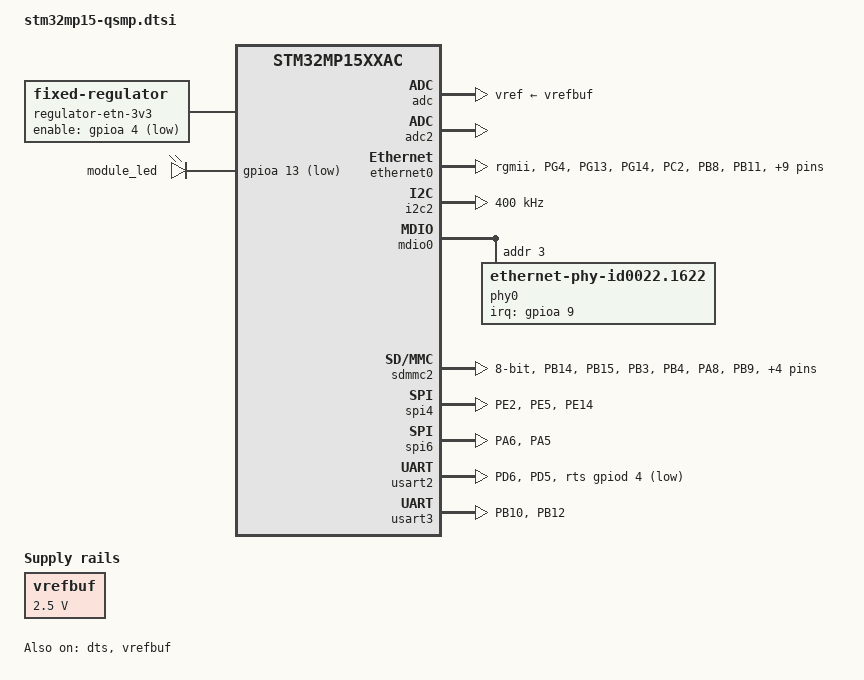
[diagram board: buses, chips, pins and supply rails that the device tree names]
// SPDX-License-Identifier: (GPL-2.0 OR BSD-3-Clause)
/*
 * Copyright (C) 2020 Lothar Waßmann <LW@KARO-electronics.de>
 */

#include <dt-bindings/pinctrl/stm32-pinfunc.h>
#include "stm32mp15xxac-pinctrl.dtsi"
#include "stm32mp15-karo.dtsi"

/ {
	aliases {
		i2c1 = &i2c2;
		i2c2 = &i2c1;
		mmc1 = &sdmmc1;
		serial1 = &usart3;
		serial2 = &usart2;
	};

	regulator-etn-3v3 {
		compatible = "fixed-regulator";
		regulator-name = "etn-phy";
		regulator-min-microvolt = <3300000>;
		regulator-max-microvolt = <3300000>;
		enable-gpios = <&gpioa 4 GPIO_ACTIVE_LOW>;
		regulator-always-on;
	};
};

&adc {
	vdd-supply = <&reg_3v3>;
	vdda-supply = <&reg_3v3>;
	vref-supply = <&vrefbuf>;
	status = "okay";
};

&adc2 {
	status = "okay";
};

&dts {
	status = "okay";
};

&ethernet0 {
	pinctrl-0 = <&qsmp_ethernet0_rgmii_pins>;
	pinctrl-1 = <&qsmp_ethernet0_rgmii_sleep_pins>;
	phy-mode = "rgmii";
};

&i2c1 {
	pinctrl-names = "default", "sleep";
	pinctrl-0 = <&qsmp_i2c1_pins>;
	pinctrl-1 = <&qsmp_i2c1_sleep_pins>;
	clock-frequency = <400000>;
	status = "disabled";
};

&i2c2 {
	pinctrl-names = "default", "sleep";
	pinctrl-0 = <&qsmp_i2c2_pins_z>;
	pinctrl-1 = <&qsmp_i2c2_sleep_pins_z>;
	clock-frequency = <400000>;
	status = "okay";
};

&mdio0 {
	phy0: ethernet-phy@3 {
		compatible = "ethernet-phy-id0022.1622";
		reg = <3>;
		interrupt-parent = <&gpioa>;
		interrupts = <9 IRQ_TYPE_EDGE_FALLING>;
		micrel,force-master;
		rxd0-skew-ps = <(420 + 6)>;
		rxd1-skew-ps = <(420 + 5)>;
		rxd2-skew-ps = <(420 - 1)>;
		rxd3-skew-ps = <(420 - 22)>;
		txd0-skew-ps = <(420 - 103)>;
		txd1-skew-ps = <(420 - 104)>;
		txd2-skew-ps = <(420 - 73)>;
		txd3-skew-ps = <(420 - 25)>;
		txen-skew-ps = <(420 + 15)>;
		rxdv-skew-ps = <(420 - 12)>;
		rxc-skew-ps = <(900 + 0)>;
		txc-skew-ps = <(900 + 1000)>;
	};
};

&module_led {
	gpios = <&gpioa 13 (GPIO_ACTIVE_LOW | GPIO_PULL_UP)>;
};

&sdmmc1 {
	pinctrl-names = "default", "opendrain", "sleep";
	pinctrl-0 = <&qsmp_sdmmc1_pins>;
	pinctrl-1 = <&qsmp_sdmmc1_opendrain_pins>;
	pinctrl-2 = <&qsmp_sdmmc1_sleep_pins>;
	bus-width = <4>;
	vmmc-supply = <&reg_3v3>;
	cd-gpios = <&gpiob 7 (GPIO_ACTIVE_LOW | GPIO_PULL_UP)>;
	no-1-8-v;
	st,neg-edge;
	status = "disabled";
};

&sdmmc2 {
	/* eMMC */
	pinctrl-0 = <&qsmp_sdmmc2_pins>;
	pinctrl-1 = <&qsmp_sdmmc2_opendrain_pins>;
	pinctrl-2 = <&qsmp_sdmmc2_sleep_pins>;
	bus-width = <8>;
};

&spi4 {
	pinctrl-names = "default";
	pinctrl-0 = <&qsmp_spi4_pins>;
	pinctrl-1 = <&qsmp_spi4_sleep_pins>;
	cs-gpios = <&gpioe 11 (GPIO_ACTIVE_LOW | GPIO_PULL_UP)>;
	status = "okay";
};

&spi6 {
	pinctrl-names = "default", "sleep";
	pinctrl-0 = <&qsmp_spi6_pins &qsmp_spi6_pins_z>;
	pinctrl-1 = <&qsmp_spi6_sleep_pins &qsmp_spi6_sleep_pins_z>;
	cs-gpios = <&gpioz 3 (GPIO_ACTIVE_LOW | GPIO_PULL_UP)>;
	status = "okay";
};

&usart2 {
	pinctrl-names = "default", "sleep";
	pinctrl-0 = <&qsmp_usart2_pins>;
	pinctrl-1 = <&qsmp_usart2_sleep_pins>;
	rts-gpios = <&gpiod 4 GPIO_ACTIVE_LOW>;
	cts-gpios = <&gpiod 3 (GPIO_ACTIVE_LOW | GPIO_PULL_UP)>;
	/delete-property/ dma-names;
	/delete-property/ dmas;
	status = "okay";
};

&usart3 {
	pinctrl-names = "default", "sleep";
	pinctrl-0 = <&qsmp_usart3_pins>;
	pinctrl-1 = <&qsmp_usart3_sleep_pins>;
	/delete-property/ dma-names;
	/delete-property/ dmas;
	status = "okay";
};

&vrefbuf {
	regulator-min-microvolt = <2500000>;
	regulator-max-microvolt = <2500000>;
	vdda-supply = <&reg_3v3>;
	status = "okay";
};

&pinctrl {
	qsmp_ethernet0_rgmii_pins: qsmp-ethernet0-rgmii-pins {
		pins1 {
			pinmux = <
				  STM32_PINMUX('G', 4, AF11) /* ETH_RGMII_GTX_CLK */
				  STM32_PINMUX('G', 13, AF11) /* ETH_RGMII_TXD0 */
				  STM32_PINMUX('G', 14, AF11) /* ETH_RGMII_TXD1 */
				  STM32_PINMUX('C', 2, AF11) /* ETH_RGMII_TXD2 */
				  STM32_PINMUX('B', 8, AF11) /* ETH_RGMII_TXD3 */
			>;
			bias-disable;
			drive-push-pull;
			slew-rate = <3>;
		};

		pins2 {
			pinmux = <
				  STM32_PINMUX('B', 11, AF11) /* ETH_RGMII_TX_CTL */
				  STM32_PINMUX('A', 2, AF11) /* ETH_MDIO */
				  STM32_PINMUX('C', 1, AF11) /* ETH_MDC */
			>;
			bias-disable;
			drive-push-pull;
			slew-rate = <1>;
		};

		pins3 {
			/* Micrel KSZ92031 strap pins */
			pinmux = <
				  STM32_PINMUX('A', 7, AF11) /* RX_CTL | CLK125_EN */
				  STM32_PINMUX('C', 4, AF11) /* RXD0 | MODE0 */
				  STM32_PINMUX('C', 5, AF11) /* RXD1 | MODE1 */
				  STM32_PINMUX('B', 0, AF11) /* RXD2 | MODE2 */
				  STM32_PINMUX('H', 7, AF11) /* RXD3 | MODE3 */
			>;
			bias-pull-up;
		};

		pins4 {
			pinmux = <
				  STM32_PINMUX('A', 1, AF11) /* RX_CLK | PHYAD2 */
			>;
			bias-pull-down;
		};

		pins5 {
			pinmux = <
				  STM32_PINMUX('G', 5, AF11) /* CLK125 | LED_MODE */
			>;
			bias-pull-up;
		};
	};

	qsmp_ethernet0_rgmii_sleep_pins: qsmp-rgmii-sleep-pins {
		pins1 {
			pinmux = <
				  STM32_PINMUX('G', 5, ANALOG) /* ETH_RGMII_CLK125 */
				  STM32_PINMUX('G', 4, ANALOG) /* ETH_RGMII_GTX_CLK */
				  STM32_PINMUX('G', 13, ANALOG) /* ETH_RGMII_TXD0 */
				  STM32_PINMUX('G', 14, ANALOG) /* ETH_RGMII_TXD1 */
				  STM32_PINMUX('C', 2, ANALOG) /* ETH_RGMII_TXD2 */
				  STM32_PINMUX('B', 8, ANALOG) /* ETH_RGMII_TXD3 */
				  STM32_PINMUX('B', 11, ANALOG) /* ETH_RGMII_TX_CTL */
				  STM32_PINMUX('A', 2, ANALOG) /* ETH_MDIO */
				  STM32_PINMUX('C', 1, ANALOG) /* ETH_MDC */
				  STM32_PINMUX('C', 4, ANALOG) /* ETH_RGMII_RXD0 */
				  STM32_PINMUX('C', 5, ANALOG) /* ETH_RGMII_RXD1 */
				  STM32_PINMUX('B', 0, ANALOG) /* ETH_RGMII_RXD2 */
				  STM32_PINMUX('H', 7, ANALOG) /* ETH_RGMII_RXD3 */
				  STM32_PINMUX('A', 1, ANALOG) /* ETH_RGMII_RX_CLK */
				  STM32_PINMUX('A', 7, ANALOG) /* ETH_RGMII_RX_CTL */
			>;
		};
	};

	qsmp_i2c1_pins: qsmp_i2c1-pins {
		pins {
			pinmux = <
				  STM32_PINMUX('D', 12, AF5) /* I2C1_SCL */
				  STM32_PINMUX('F', 15, AF5) /* I2C1_SDA */
			>;
			bias-disable;
			drive-open-drain;
			slew-rate = <0>;
		};
	};

	qsmp_i2c1_sleep_pins: qsmp_i2c1-sleep-pins {
		pins {
			pinmux = <
				  STM32_PINMUX('D', 12, ANALOG) /* I2C1_SCL */
				  STM32_PINMUX('F', 15, ANALOG) /* I2C1_SDA */
			>;
		};
	};

	qsmp_sdmmc1_pins: qsmp-sdmmc1-pins {
		pins1 {
			pinmux = <
				  STM32_PINMUX('D', 2, AF12)	/* SDMMC1_CMD */
				  STM32_PINMUX('C', 8, AF12)	/* SDMMC1_D0 */
				  STM32_PINMUX('C', 9, AF12)	/* SDMMC1_D1 */
				  STM32_PINMUX('C', 10, AF12)	/* SDMMC1_D2 */
				  STM32_PINMUX('C', 11, AF12)	/* SDMMC1_D3 */
			>;
			bias-disable;
			drive-push-pull;
			slew-rate = <1>;
		};

		pins2 {
			pinmux = <STM32_PINMUX('C', 12, AF12)>; /* SDMMC1_CK */
			bias-disable;
			drive-push-pull;
			slew-rate = <2>;
		};
	};

	qsmp_sdmmc1_opendrain_pins: qsmp-sdmmc1-opendrain-pins {
		pins1 {
			pinmux = <
				  STM32_PINMUX('C', 8, AF12)	/* SDMMC1_D0 */
				  STM32_PINMUX('C', 9, AF12)	/* SDMMC1_D1 */
				  STM32_PINMUX('C', 10, AF12)	/* SDMMC1_D2 */
				  STM32_PINMUX('C', 11, AF12)	/* SDMMC1_D3 */
			>;
			bias-disable;
			drive-push-pull;
			slew-rate = <1>;
		};

		pins2 {
			pinmux = <STM32_PINMUX('D', 2, AF12)>; /* SDMMC1_CMD */
			bias-disable;
			drive-open-drain;
			slew-rate = <1>;
		};

		pins3 {
			pinmux = <STM32_PINMUX('C', 12, AF12)>; /* SDMMC1_CK */
			bias-disable;
			drive-push-pull;
			slew-rate = <2>;
		};
	};

	qsmp_sdmmc1_sleep_pins: sdmmc1-sleep-pins {
		pins1 {
			pinmux = <
				  STM32_PINMUX('D', 2, ANALOG)	/* SDMMC1_CMD */
				  STM32_PINMUX('C', 8, ANALOG)	/* SDMMC1_D0 */
				  STM32_PINMUX('C', 9, ANALOG)	/* SDMMC1_D1 */
				  STM32_PINMUX('C', 10, ANALOG)	/* SDMMC1_D2 */
				  STM32_PINMUX('C', 11, ANALOG)	/* SDMMC1_D3 */
				  STM32_PINMUX('C', 12, ANALOG)	/* SDMMC1_CK */
			>;
		};
	};

	qsmp_sdmmc2_pins: qsmp-sdmmc2-pins {
		pins1 {
			pinmux = <
				  STM32_PINMUX('B', 14, AF9)	/* SDMMC2_D0 */
				  STM32_PINMUX('B', 15, AF9)	/* SDMMC2_D1 */
				  STM32_PINMUX('B', 3, AF9)	/* SDMMC2_D2 */
				  STM32_PINMUX('B', 4, AF9)	/* SDMMC2_D3 */
				  STM32_PINMUX('A', 8, AF9)	/* SDMMC2_D4 */
				  STM32_PINMUX('B', 9, AF10)	/* SDMMC2_D5 */
				  STM32_PINMUX('C', 6, AF10)	/* SDMMC2_D6 */
				  STM32_PINMUX('C', 7, AF10)	/* SDMMC2_D7 */
				  STM32_PINMUX('G', 6, AF10)	/* SDMMC2_CMD */
			>;
			bias-disable;
			drive-push-pull;
			slew-rate = <1>;
		};

		pins2 {
			pinmux = <STM32_PINMUX('E', 3, AF9)>; /* SDMMC2_CK */
			bias-disable;
			drive-push-pull;
			slew-rate = <3>;
		};
	};

	qsmp_sdmmc2_opendrain_pins: qsmp-sdmmc2-opendrain-pins {
		pins1 {
			pinmux = <
				  STM32_PINMUX('B', 14, AF9)	/* SDMMC2_D0 */
				  STM32_PINMUX('B', 15, AF9)	/* SDMMC2_D1 */
				  STM32_PINMUX('B', 3, AF9)	/* SDMMC2_D2 */
				  STM32_PINMUX('B', 4, AF9)	/* SDMMC2_D3 */
				  STM32_PINMUX('A', 8, AF9)	/* SDMMC2_D4 */
				  STM32_PINMUX('B', 9, AF10)	/* SDMMC2_D5 */
				  STM32_PINMUX('C', 6, AF10)	/* SDMMC2_D6 */
				  STM32_PINMUX('C', 7, AF10)	/* SDMMC2_D7 */
			>;
			bias-disable;
			drive-push-pull;
			slew-rate = <1>;
		};

		pins2 {
			pinmux = <STM32_PINMUX('G', 6, AF10)>;	/* SDMMC2_CMD */
			bias-disable;
			drive-open-drain;
			slew-rate = <1>;
		};

		pins3 {
			pinmux = <STM32_PINMUX('E', 3, AF9)>; /* SDMMC2_CK */
			bias-disable;
			drive-push-pull;
			slew-rate = <3>;
		};
	};

	qsmp_sdmmc2_sleep_pins: qsmp-sdmmc2-sleep-pins {
		pins {
			pinmux = <
				  STM32_PINMUX('B', 14, ANALOG)	/* SDMMC2_D0 */
				  STM32_PINMUX('B', 15, ANALOG)	/* SDMMC2_D1 */
				  STM32_PINMUX('B', 3, ANALOG)	/* SDMMC2_D2 */
				  STM32_PINMUX('B', 4, ANALOG)	/* SDMMC2_D3 */
				  STM32_PINMUX('A', 8, ANALOG)	/* SDMMC2_D4 */
				  STM32_PINMUX('B', 9, ANALOG)	/* SDMMC2_D5 */
				  STM32_PINMUX('C', 6, ANALOG)	/* SDMMC2_D6 */
				  STM32_PINMUX('C', 7, ANALOG)	/* SDMMC2_D7 */
				  STM32_PINMUX('G', 6, ANALOG)	/* SDMMC2_CMD */
				  STM32_PINMUX('E', 3, ANALOG)	/* SDMMC2_CK */
			>;
		};
	};

	qsmp_spi4_pins: qsmp-spi4-pins {
		pins {
			pinmux = <
				  STM32_PINMUX('E', 2, AF5) /* SPI4_SCK */
				  STM32_PINMUX('E', 5, AF5) /* SPI4_MISO */
				  STM32_PINMUX('E', 14, AF5) /* SPI4_MOSI */
			>;
			bias-disable;
			drive-push-pull;
			slew-rate = <1>;
		};
	};

	qsmp_spi4_sleep_pins: qsmp-spi4-sleep-pins {
		pins {
			pinmux = <
				  STM32_PINMUX('E', 2, ANALOG) /* SPI4_SCK */
				  STM32_PINMUX('E', 5, ANALOG) /* SPI4_MISO */
				  STM32_PINMUX('E', 14, ANALOG) /* SPI4_MOSI */
			>;
		};
	};


	qsmp_spi6_pins: qsmp-spi6-pins {
		pins {
			pinmux = <
				  STM32_PINMUX('A', 6, AF8) /* SPI6_MISO */
				  STM32_PINMUX('A', 5, AF8) /* SPI6_SCK */
			>;
			bias-disable;
			drive-push-pull;
			slew-rate = <1>;
		};
	};

	qsmp_spi6_sleep_pins: qsmp-spi6-sleep-pins {
		pins {
			pinmux = <
				  STM32_PINMUX('A', 6, ANALOG) /* SPI6_MISO */
				  STM32_PINMUX('A', 5, ANALOG) /* SPI6_SCK */
			>;
		};
	};

	qsmp_usart2_pins: qsmp-usart2-pins {
		pins1 {
			pinmux = <
				  STM32_PINMUX('D', 6, AF7) /* USART2_RX */
			>;
			bias-pull-up;
		};

		pins2 {
			pinmux = <
				  STM32_PINMUX('D', 5, AF7) /* USART2_TX */
			>;
			bias-disable;
			drive-push-pull;
			slew-rate = <0>;
		};
	};

	qsmp_usart2_rtscts_pins: qsmp-usart2-rtscts-pins {
		pins1 {
			pinmux = <
				  STM32_PINMUX('D', 3, AF7) /* USART2_CTS */
			>;
			bias-pull-up;
		};

		pins2 {
			pinmux = <
				  STM32_PINMUX('D', 4, AF7) /* USART2_RTS */
			>;
			bias-disable;
			drive-push-pull;
			slew-rate = <0>;
		};
	};

	qsmp_usart2_sleep_pins: usart2-qsmp-sleep-pins {
		pins {
			pinmux = <
				  STM32_PINMUX('D', 5, ANALOG) /* USART2_TX */
				  STM32_PINMUX('D', 6, ANALOG) /* USART2_RX */
			>;
		};
	};

	qsmp_usart2_rtscts_sleep_pins: qsmp-usart2-rtscts-sleep-pins {
		pins {
			pinmux = <
				  STM32_PINMUX('D', 3, ANALOG) /* USART2_CTS */
				  STM32_PINMUX('D', 4, ANALOG) /* USART2_RTS */
			>;
		};
	};

	qsmp_usart3_pins: qsmp-usart3-pins {
		pins1 {
			pinmux = <STM32_PINMUX('B', 10, AF7)>; /* USART3_TX */
			bias-disable;
			drive-push-pull;
			slew-rate = <0>;
		};

		pins2 {
			pinmux = <STM32_PINMUX('B', 12, AF8)>; /* USART3_RX */
			bias-pull-up;
		};
	};

	qsmp_usart3_sleep_pins: qsmp-usart3-sleep-pins {
		pins {
			pinmux = <STM32_PINMUX('B', 10, ANALOG) /* USART3_TX */
				  STM32_PINMUX('B', 12, ANALOG) /* USART3_RX */
			>;
		};
	};
};

&pinctrl_z {
	qsmp_i2c2_pins_z: qsmp_i2c2-pins-z {
		pins {
			pinmux = <
				  STM32_PINMUX('Z', 0, AF3) /* I2C2_SCL */
				  STM32_PINMUX('Z', 1, AF3) /* I2C2_SDA */
			>;
			bias-disable;
			drive-open-drain;
			slew-rate = <0>;
		};
	};

	qsmp_i2c2_sleep_pins_z: qsmp_i2c2-sleep-pins-z {
		pins {
			pinmux = <
				  STM32_PINMUX('Z', 0, ANALOG) /* I2C2_SCL */
				  STM32_PINMUX('Z', 1, ANALOG) /* I2C2_SDA */
			>;
		};
	};

	qsmp_spi6_pins_z: qsmp-spi6-pins-z {
		pins {
			pinmux = <
				  STM32_PINMUX('Z', 2, AF8) /* SPI6_MOSI */
			>;
			bias-disable;
			drive-push-pull;
			slew-rate = <1>;
		};
	};

	qsmp_spi6_sleep_pins_z: qsmp-spi6-sleep-pins-z {
		pins {
			pinmux = <
				  STM32_PINMUX('Z', 2, ANALOG) /* SPI6_MOSI */
			>;
		};
	};
};
